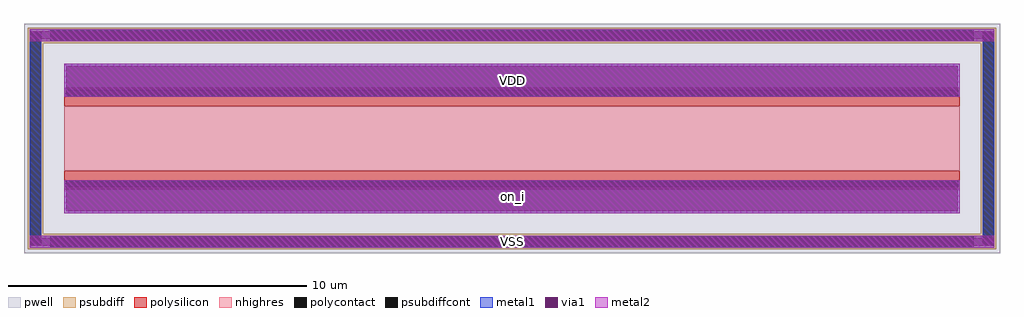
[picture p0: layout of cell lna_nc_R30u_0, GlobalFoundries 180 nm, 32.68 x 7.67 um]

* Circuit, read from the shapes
.subckt lna_nc_R30u_0 on_i VDD VSS
XR1 VDD on_i VSS ppolyf_u_1k r_width=30u r_length=2.17u
.ends

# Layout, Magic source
magic
tech gf180mcuD
magscale 1 10
<< pwell >>
rect -3268 -464 3268 1070
<< psubdiff >>
rect -3244 -440 3244 -336
rect -3244 942 3244 1046
rect -3244 -336 -3140 942
rect 3140 -336 3244 942
<< polysilicon >>
rect -3000 520 3000 642
rect -3000 -36 3000 86
<< nhighres >>
rect -3000 86 3000 520
<< psubdiffcont >>
rect -3231 -416 -3153 1022
rect 3153 -416 3231 1022
rect -3093 955 3093 1033
rect -3093 -427 3093 -349
<< polycontact >>
rect -2987 583 2987 629
rect -2987 -23 2987 23
<< metal1 >>
rect -2998 583 2998 629
rect -2998 -23 2998 23
rect -2998 -197 2998 23
rect -2998 583 2998 803
rect -3231 -427 3231 -349
rect -3231 955 3231 1033
rect -3231 -427 -3153 1033
rect 3153 -427 3231 1033
rect -3231 -427 3231 -349
rect -3231 955 3231 1033
<< metal2 >>
rect -2998 -197 2998 23
rect -2998 583 2998 803
rect -3231 -427 3231 -349
rect -3231 955 3231 1033
<< via1 >>
rect -2986 -185 2986 11
rect -2986 595 2986 791
rect -3219 -415 3219 -361
rect -3219 967 3219 1021
<< labels >>
flabel metal2 s -2998 -197 2998 23 0 FreeSans 80 0 0 0 on_i
port 1 nsew signal bidirectional
flabel metal2 s -2998 583 2998 803 0 FreeSans 80 0 0 0 VDD
port 2 nsew signal bidirectional
flabel metal2 s -3231 -427 3231 -349 0 FreeSans 80 0 0 0 VSS
port 3 nsew signal bidirectional
<< end >>
